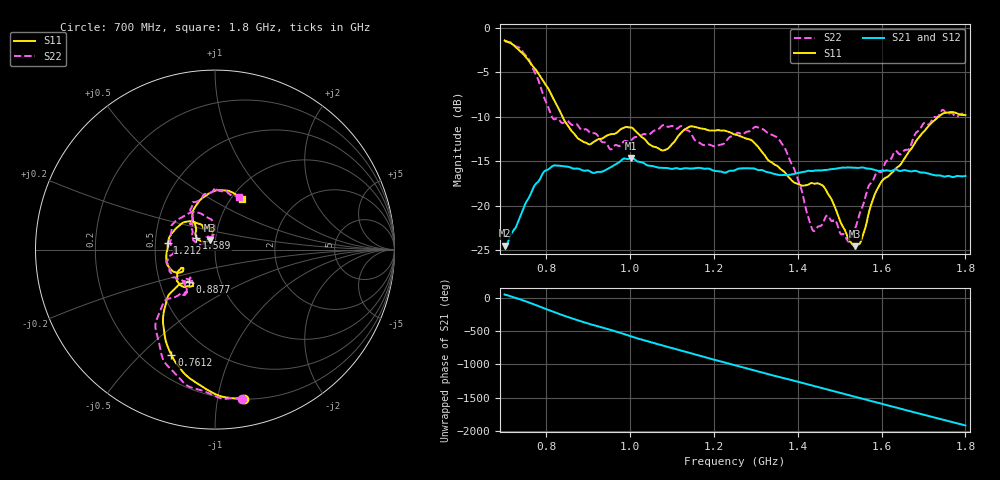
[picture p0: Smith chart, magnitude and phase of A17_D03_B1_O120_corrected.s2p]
! Created with skrf 1.9.0 (http://scikit-rf.org).
# Hz S RI R 50.0
!freq ReS11 ImS11 ReS21 ImS21 ReS12 ImS12 ReS22 ImS22
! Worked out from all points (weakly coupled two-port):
!   1601 points, 700 MHz to 1.8 GHz, reference 50 ohm
!   highest |S21| = -14.66 dB at 1.002 GHz (marker M1); lowest = -24.5 dB at 701.4 MHz (marker M2)
!   lowest |S11| = -24.6 dB at 1.536 GHz (marker M3), VSWR 1.13, Z = 47.2 + j5.02 ohm
!   |S11| at or under -10 dB: 838.2 MHz to 1.736 GHz (897.5 MHz wide, 69.7 % of centre)
!   |S22| runs from -24.0 to -1.5 dB; largest |S21 - S12| = 0.0035
!   S11 on the Smith chart (normalised r, x): 700 MHz: 0.20, -1.19; 761.2 MHz: 0.32, -0.62; 887.7 MHz: 0.71, -0.27; 1.212 GHz: 0.58, +0.05; 1.589 GHz: 0.81, +0.11; 1.8 GHz: 1.12, +0.71
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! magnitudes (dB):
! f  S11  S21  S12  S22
! 700 MHz  -1.4  -24.5  -24.3  -1.5
! 701.4 MHz  -1.5  -24.5  -24.1  -1.5
! 761.2 MHz  -3.9  -18.8  -18.7  -3.9
! 814.8 MHz  -7.8  -15.5  -15.6  -10.2
! 883.6 MHz  -12.7  -16.0  -15.9  -11.5
! 887.7 MHz  -12.8  -16.1  -15.9  -11.5
! 953 MHz  -12.0  -15.7  -15.7  -13.7
! 1.002 GHz  -11.2  -14.7  -14.8  -12.6
! 1.067 GHz  -13.6  -15.7  -15.7  -11.4
! 1.143 GHz  -11.1  -15.8  -15.8  -11.7
! 1.212 GHz  -11.5  -16.1  -16.1  -13.2
! 1.25 GHz  -12.0  -16.0  -15.9  -12.0
! 1.355 GHz  -15.7  -16.6  -16.5  -12.6
! 1.394 GHz  -17.5  -16.4  -16.4  -16.2
! 1.434 GHz  -17.5  -16.1  -16.1  -22.6
! 1.464 GHz  -18.0  -16.0  -16.0  -21.5
! 1.52 GHz  -23.7  -15.7  -15.7  -24.0
! 1.536 GHz  -24.6  -15.7  -15.8  -22.7
! 1.589 GHz  -18.2  -16.1  -16.1  -16.2
! 1.617 GHz  -16.6  -16.1  -16.0  -14.9
! 1.738 GHz  -9.9  -16.6  -16.6  -9.7
! 1.8 GHz  -9.8  -16.7  -16.7  -9.9
